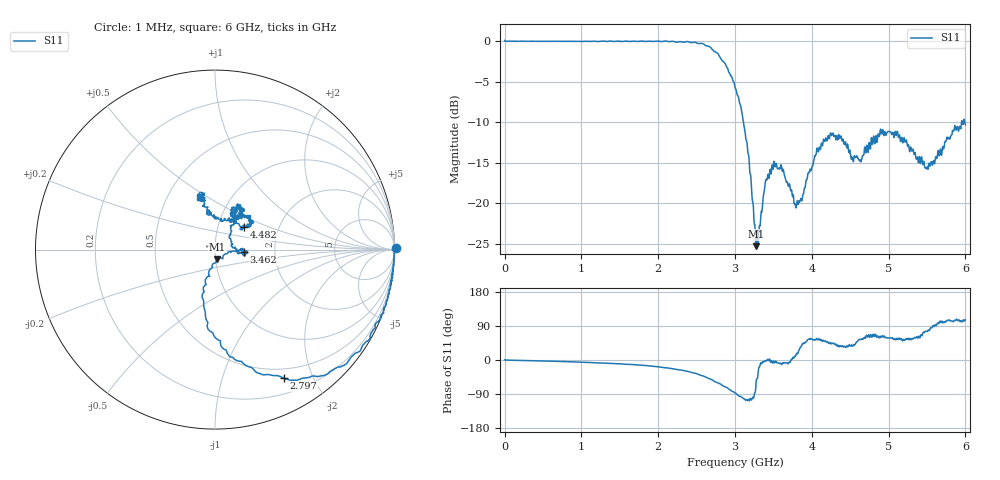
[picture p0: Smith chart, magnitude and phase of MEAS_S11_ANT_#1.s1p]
# GHZ S DB R 50.000000000000
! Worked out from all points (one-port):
!   1001 points, 1 MHz to 6 GHz, reference 50 ohm
!   lowest |S11| = -25.3 dB at 3.27 GHz (marker M1), VSWR 1.11, Z = 51.1 - j5.37 ohm
!   |S11| at or under -10 dB: 3.11 GHz to 5.95 GHz (2.839 GHz wide, 62.7 % of centre); 5.959714 GHz to 5.974187 GHz (14.47 MHz wide, 0.243 % of centre); 5.992232 GHz to end of sweep
!   S11 on the Smith chart (normalised r, x): 1 MHz: open; 2.797 GHz: 0.38, -1.60; 3.462 GHz: 1.38, -0.04; 4.482 GHz: 1.34, +0.35; 6 GHz: 0.72, +0.46
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0.001  0.09 0.4
0.750875  -0.01 -4.0
1.50075  -0.05 -10.0
2.250625  -0.14 -25.2
2.574571  -0.29 -41.5
2.796534  -1.82 -61.8
2.88052  -2.94 -71.8
3.0005  -5.71 -86.7
3.072488  -7.93 -96.3
3.150475  -12.30 -104.3
3.270455  -25.33 -75.6
3.30045  -24.90 -36.8
3.396434  -17.32 -2.0
3.462423  -15.84 -5.4
3.606399  -15.48 -11.9
3.750375  -19.21 6.2
3.852358  -19.64 33.7
4.068322  -13.20 55.1
4.242293  -11.37 44.4
4.38027  -11.70 36.5
4.482253  -13.75 37.2
4.50025  -13.94 37.6
4.638227  -14.91 53.7
4.92018  -10.94 63.7
5.250125  -12.99 57.3
5.508082  -15.70 75.0
5.862023  -10.42 104.7
6  -10.32 106.3
